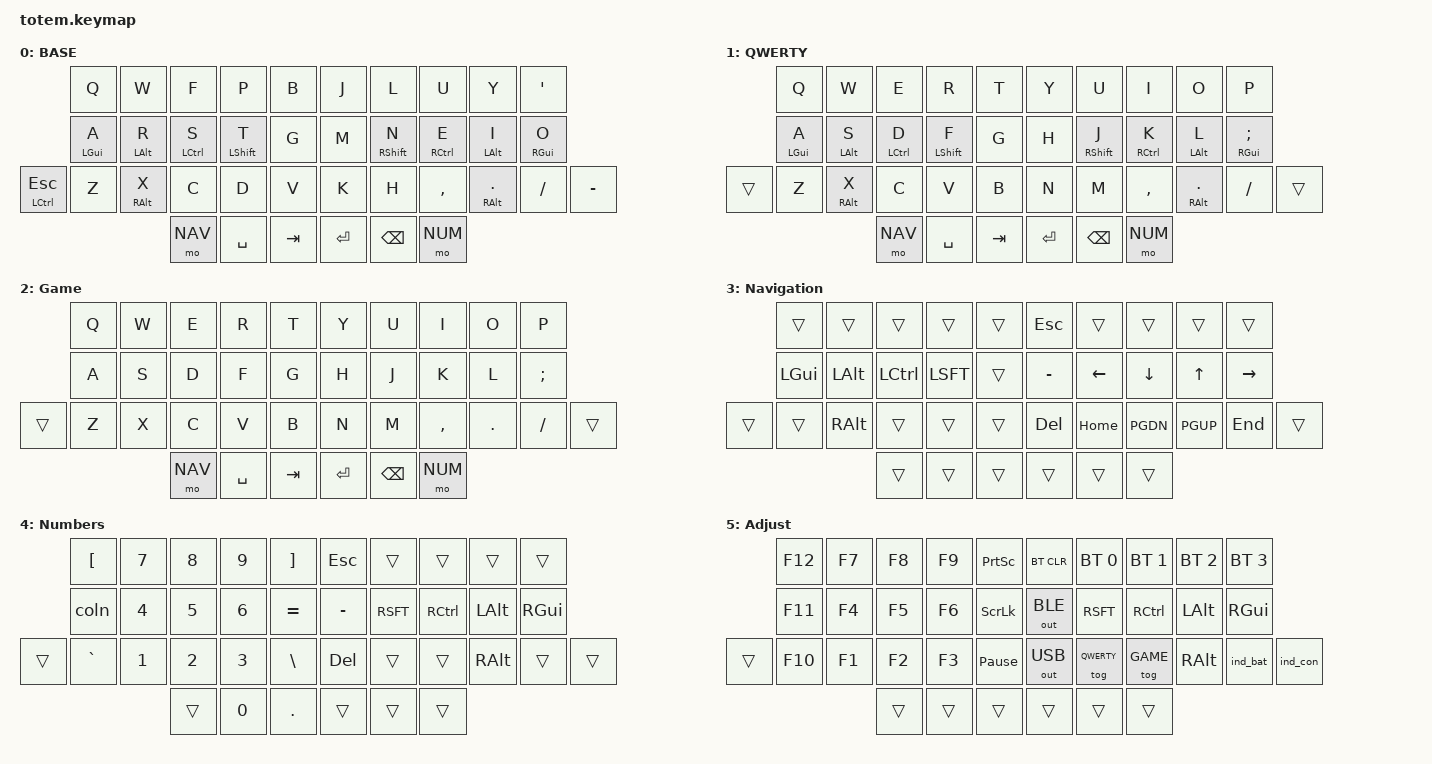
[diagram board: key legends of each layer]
//
//                                                        ▀▀▀▀▀     ▀▀▀▀▀          ▀▀█▀▀
//                                                        ▄▀▀▀▄  ▄  ▄▀▀▀▄  ▄  ▄▀▀▀▄  █  ▄▀▀▀▄
//                                                        █   █  █  █   █  █  █   █  █  █   █
//                                                         ▀▀▀   █   ▀▀▀   █   ▀▀▀   ▀   ▀▀▀
//                                                               █      ▄▄▄█▄▄▄    █   █  
//                                                               ▀      █  █  █     █▄█
//                                                             ▀▀▀▀▀    █  █  █      ▀
//                                                                      ▀  ▀  ▀
//
// ▄▄▄▄▄▄▄▄▄▄▄▄▄▄▄▄▄▄▄▄▄▄▄▄▄▄▄▄▄▄▄▄▄▄▄▄▄▄▄▄▄▄▄▄▄▄▄▄▄▄▄▄▄▄▄▄▄▄▄▄▄▄▄▄▄▄▄▄▄▄▄▄▄▄▄▄▄▄▄▄▄▄▄▄▄▄▄▄▄▄▄▄▄▄▄▄▄▄▄▄▄▄▄▄▄▄▄▄▄▄▄▄▄▄▄▄▄▄▄▄▄▄▄▄▄▄▄▄▄▄▄▄▄▄▄▄▄▄▄▄▄▄▄▄▄▄▄▄▄
       

#include <behaviors.dtsi>
#include <dt-bindings/zmk/keys.h>
#include <dt-bindings/zmk/bt.h>
#include <dt-bindings/zmk/outputs.h>
#include <behaviors/rgbled_widget.dtsi>

#define DEFAULT 0
#define QWERTY  1
#define GAME    2
#define NAV     3
#define NUM     4
#define ADJ  5

#define LSPO &hm LSHFT LS(N9)
#define RSPC &hm RSHFT RS(N0)

&caps_word {
    continue-list = <UNDERSCORE MINUS BACKSPACE DELETE>;
};

&mt {
  quick-tap-ms = <100>;
  global-quick-tap;
  flavor = "tap-preferred";
  tapping-term-ms = <170>;
};

/ {
    combos {
        compatible = "zmk,combos";
        combo_bootloader {
            timeout-ms = <50>;
            key-positions = <0 9>;
            bindings = <&bootloader>;

        };
        combo_lbrc {
            timeout-ms = <50>;
            key-positions = <14 25>;
            bindings = <&kp LS(LBKT)>;
        };
        combo_rbrc {
            timeout-ms = <50>;
            key-positions = <15 26>;
            bindings = <&kp RS(RBKT)>;
        };
        combo_lbkt {
            timeout-ms = <50>;
            key-positions = <4 14>;
            bindings = <&kp LBKT>;
        };
        combo_rbkt {
            timeout-ms = <50>;
            key-positions = <5 15>;
            bindings = <&kp RBKT>;
        };
        combo_capsword {
            timeout-ms = <50>;
            key-positions = <14 15>;
            bindings = <&caps_word>;
        };
        combo_lpar {
            timeout-ms = <50>;
            key-positions = <13 14>;
            bindings = <&kp LS(N9)>;
        };
        combo_rpar {
            timeout-ms = <50>;
            key-positions = <15 16>;
            bindings = <&kp RS(N0)>;
        };
    };

    behaviors {
        hm: homerow_mods {
            compatible = "zmk,behavior-hold-tap";
            label = "HOMEROW_MODS";
            #binding-cells = <2>;
            tapping-term-ms = <250>;
            quick_tap_ms = <0>;
            flavor = "balanced";
            bindings = <&kp>, <&kp>;
        };
        hs: homerow_shift {
            compatible = "zmk,behavior-hold-tap";
            label = "HOMEROW_SHIFT";
            #binding-cells = <2>;
            tapping-term-ms = <175>;
            quick_tap_ms = <0>;
            flavor = "balanced";
            bindings = <&kp>, <&kp>;
        };
        coln: inverted_colon {
            compatible = "zmk,behavior-mod-morph";
            label = "COLON";
            #binding-cells = <0>;
            bindings = <&kp LS(SCLN)>, <&kp SCLN>;
            mods = <(MOD_LSFT|MOD_RSFT)>;
        };
    };

    conditional_layers {
        compatible = "zmk,conditional-layers";
        tri_layer {
            if-layers = <NAV NUM>;
            then-layer = <ADJ>;
        };
    };

        keymap {
                compatible = "zmk,keymap";
// ▄▄▄▄▄▄▄▄▄▄▄▄▄▄▄▄▄▄▄▄▄▄▄▄▄▄▄▄▄▄▄▄▄▄▄▄▄▄▄▄▄▄▄▄▄▄▄▄▄▄▄▄▄▄▄▄▄▄▄▄▄▄▄▄▄▄▄▄▄▄▄▄▄▄▄▄▄▄▄▄▄▄▄▄▄▄▄▄▄▄▄▄▄▄▄▄▄▄▄▄▄▄▄▄▄▄▄▄▄▄▄▄▄▄▄▄▄▄▄▄▄▄▄▄▄▄▄▄▄▄▄▄▄▄▄▄▄▄▄▄▄▄▄▄▄▄▄▄▄

                base_layer {
label= "BASE"                              ;
 bindings = <
// ╷           ╷           ╷           ╷           ╷           ╷           ╷   ╷           ╷           ╷           ╷           ╷           ╷           ╷

                &kp Q       &kp W       &kp F       &kp P       &kp B           &kp J       &kp L       &kp U       &kp Y       &kp SQT
                &hm LGUI A  &hm LALT R  &hm LCTRL S &hs LSHFT T &kp G           &kp M       &hs RSHFT N &hm RCTRL E &hm LALT I  &hm RGUI O
    &hm LCTL ESC &kp Z       &hm RALT X  &kp C       &kp D       &kp V           &kp K       &kp H       &kp COMMA   &hm RALT DOT &kp FSLH    &kp MINUS
                                          &mo NAV       &kp SPC  &kp TAB  &kp ENTER   &kp BSPC &mo NUM
                        >;
                };

        qwerty_layer {
            label = "QWERTY";

            bindings = <
    &kp Q        &kp W        &kp E       &kp R         &kp T                                       &kp Y         &kp U        &kp I         &kp O       &kp P       
    &hm LGUI A   &hm LALT S   &hm LCTL D  &hs LSHIFT F  &kp G                                       &kp H         &hs RSHIFT J &hm RCTL K    &hm LALT L  &hm RGUI SCLN 
    &trans &kp Z        &hm RALT X   &kp C       &kp V         &kp B                                       &kp N         &kp M        &kp COMMA     &hm RALT DOT &kp FSLH &trans
                                         &mo NAV       &kp SPC  &kp TAB  &kp ENTER   &kp BSPC &mo NUM      
            >;
        };

        game_layer {
            label = "Game";

            bindings = <
    &kp Q        &kp W        &kp E       &kp R         &kp T                                       &kp Y         &kp U        &kp I         &kp O       &kp P       
    &kp A        &kp S        &kp D       &kp F         &kp G                                       &kp H         &kp J        &kp K         &kp L       &kp SCLN   
    &trans &kp Z        &kp X        &kp C       &kp V         &kp B                                       &kp N         &kp M        &kp COMMA     &kp DOT     &kp FSLH   &trans
                                         &mo NAV       &kp SPC  &kp TAB  &kp ENTER   &kp BSPC &mo NUM      
            >;
        };

        nav_layer {
            label = "Navigation";
            
            bindings = <
    &trans       &trans       &trans      &trans        &trans                                 &kp ESC       &trans       &trans        &trans      &trans
    &kp LGUI     &kp LALT     &kp LCTL    &kp LSFT      &trans                                 &kp MINUS     &kp LEFT     &kp DOWN      &kp UP      &kp RIGHT
    &trans &trans       &kp RALT     &trans      &trans        &trans                                 &kp DEL       &kp HOME     &kp PGDN      &kp PGUP    &kp END &trans
                                          &trans        &trans       &trans        &trans      &trans        &trans
            >;
        };

        num_layer {
            label = "Numbers";
            
            bindings = <
    &kp LBKT     &kp N7       &kp N8      &kp N9        &kp RBKT                                    &kp ESC       &trans       &trans        &trans      &trans
    &coln        &kp N4       &kp N5      &kp N6        &kp EQL                                     &kp MINUS     &kp RSFT     &kp RCTL      &kp LALT    &kp RGUI
    &trans &kp GRAVE    &kp N1       &kp N2      &kp N3        &kp BSLH                                    &kp DEL       &trans       &trans        &kp RALT    &trans &trans
                                          &trans        &kp N0       &kp DOT       &trans           &trans        &trans
            >;
        };

        adj_layer {
            label = "Adjust";
            
            bindings = <
    &kp F12      &kp F7       &kp F8      &kp F9        &kp PSCRN                                   &bt BT_CLR    &bt BT_SEL 0 &bt BT_SEL 1  &bt BT_SEL 2 &bt BT_SEL 3
    &kp F11      &kp F4       &kp F5      &kp F6        &kp SLCK                                    &out OUT_BLE  &kp RSFT     &kp RCTL      &kp LALT    &kp RGUI
    &trans &kp F10      &kp F1       &kp F2      &kp F3        &kp PAUSE_BREAK                             &out OUT_USB  &tog QWERTY  &tog GAME     &kp RALT    &ind_bat &ind_con
                                          &trans        &trans       &trans        &trans           &trans        &trans
            >;
        };
        };
};
